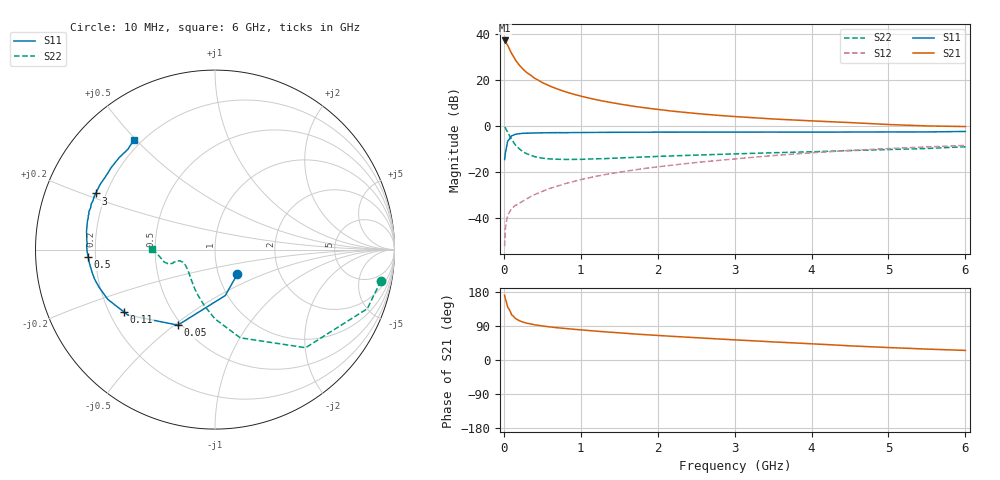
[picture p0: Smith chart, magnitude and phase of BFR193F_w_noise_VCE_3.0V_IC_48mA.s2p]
! (c) 2017  Infineon Technologies AG, Munich
! Infineon Technologies  Discrete & RF Semiconductors
! BFR193F
! VCE =  3.0 V,  IC =  48 mA
! Common Emitter S-Parameters:  Jan 2017
# GHz  S  MA  R  50
!  f  S11  S21  S12  S22
! GHz  MAG  ANG  MAG  ANG  MAG  ANG  MAG  ANG
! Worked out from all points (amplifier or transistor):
!   77 points, 10 MHz to 6 GHz, reference 50 ohm
!   highest |S21| = 37.3 dB at 10 MHz (marker M1)
!   |S21| within 3 dB of that: start of sweep to 62.61 MHz
!   unconditionally stable (mu >= 1): 782.8 MHz to 2.607 GHz
!   at 130 MHz: K = 0.51, MSG = 32.6 dB, |S12| = -35.2 dB
!   at 2.2 GHz: K = 1.02, MAG = 10.9 dB, |S12| = -17.1 dB
!   at 6 GHz: K = 0.88, MSG = 4.1 dB, |S12| = -8.5 dB
!   lowest NFmin = 1.45 dB at 450 MHz
!   S11 on the Smith chart (normalised r, x): 10 MHz: 1.23, -0.35; 50 MHz: 0.48, -0.51; 110 MHz: 0.26, -0.29; 500 MHz: 0.17, -0.03; 3 GHz: 0.16, +0.22; 6 GHz: 0.17, +0.49
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0.01  0.1854 -48.0  72.91 170.7  0.0024 84.9  0.9408 -10.7
0.02  0.2623 -77.4  69.94 161.2  0.0059 78.1  0.9101 -21.2
0.05  0.4689 -116.2  56.86 139.5  0.0112 61.9  0.7441 -47.3
0.1  0.6071 -143.1  38.04 119.4  0.0157 53.3  0.5108 -74.1
0.11  0.6151 -145.7  35.86 117.9  0.0163 53.1  0.4833 -76.6
0.15  0.6585 -155.1  27.45 109.7  0.0185 52.3  0.3857 -90.1
0.2  0.6782 -161.7  21.21 103.8  0.0206 54.9  0.3178 -100.8
0.25  0.691 -166.3  17.2 99.9  0.0232 57.4  0.2731 -110.0
0.3  0.6959 -169.3  14.48 97.1  0.026 59.5  0.2472 -116.9
0.4  0.7035 -173.7  10.96 92.8  0.0319 63.7  0.2146 -127.8
0.5  0.7076 -176.7  8.818 89.8  0.0375 66.8  0.1988 -135.7
0.6  0.7123 -178.9  7.386 87.3  0.0436 68.3  0.1908 -141.7
0.7  0.7149 178.8  6.345 85.0  0.0491 69.6  0.188 -145.8
0.9  0.7171 175.5  4.954 81.3  0.0611 71.5  0.1866 -152.5
1.1  0.7212 172.8  4.07 77.8  0.0736 72.5  0.1902 -156.3
1.5  0.727 168.3  3.015 71.7  0.0979 73.5  0.2007 -161.0
2.1  0.7323 162.3  2.193 63.6  0.1344 72.7  0.2198 -163.2
3  0.7348 154.8  1.604 53.1  0.1907 70.9  0.2458 -162.2
3.1  0.7347 153.9  1.566 52.1  0.1977 70.5  0.2488 -162.2
4.1  0.7335 145.1  1.268 41.7  0.266 65.9  0.277 -164.0
5.1  0.7397 135.2  1.059 32.0  0.3271 59.9  0.309 -172.2
6  0.7586 126.7  0.97 25.3  0.3762 54.5  0.3521 179.2
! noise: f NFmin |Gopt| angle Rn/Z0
0.45  1.45  0.46  -180  0.07
0.9  1.54  0.47  -179  0.07
1.9  2.11  0.6  -164  0.09
2.4  2.42  0.62  -156  0.14
